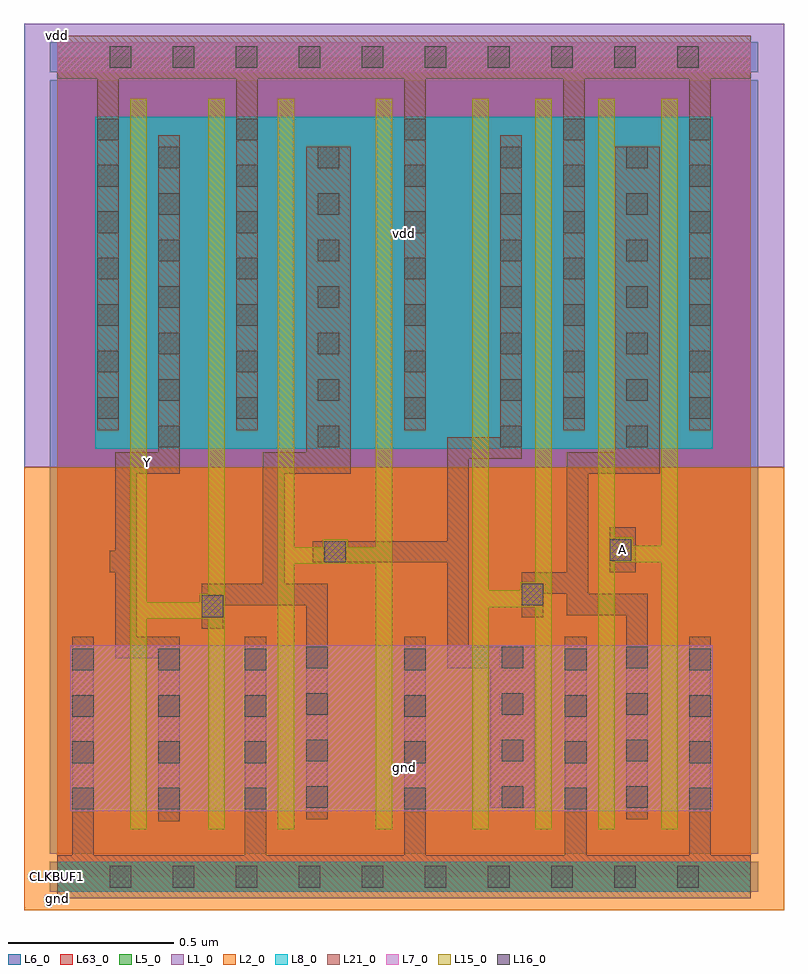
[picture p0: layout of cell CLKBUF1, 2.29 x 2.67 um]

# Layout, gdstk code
import gdstk
lib = gdstk.Library(unit=1e-6, precision=1e-09)
def R(c, l, rs):  # rectangles x0, y0, x1, y1
    for r in rs: c.add(gdstk.rectangle(r[:2], r[2:], *l))
def A(c, l, x, y, w, h, nx, ny, dx, dy):  # array of equal rectangles
    R(c, l, [(x+i*dx, y+j*dy, x+i*dx+w, y+j*dy+h) for i in range(nx) for j in range(ny)])
def P(c, l, *ps):  # polygons
    for p in ps: c.add(gdstk.Polygon(p, *l))
L1_0 = (1, 0)
L2_0 = (2, 0)
L5_0 = (5, 0)
L6_0 = (6, 0)
L7_0 = (7, 0)
L8_0 = (8, 0)
L15_0 = (15, 0)
L16_0 = (16, 0)
L21_0 = (21, 0)
L63_0 = (63, 0)

clkbuf1 = lib.new_cell('CLKBUF1')
R(clkbuf1, L1_0, [(-0.1,1.235,2.19,2.57)])
R(clkbuf1, L2_0, [(-0.1,-0.1,2.19,1.235)])
A(clkbuf1, L5_0, 1.25, 0.198, 0.05, 0.5, 4, 1, 0.19, 0)
A(clkbuf1, L5_0, 1.3, 0.198, 0.14, 0.5, 3, 1, 0.19, 0)
A(clkbuf1, L5_0, 1.25, 1.29, 0.05, 1, 4, 1, 0.19, 0)
A(clkbuf1, L5_0, 1.3, 1.29, 0.14, 1, 3, 1, 0.19, 0)
R(clkbuf1, L5_0, [(0,-0.045,2.09,0.045), (0.04,0.198,0.22,0.698), (0.22,0.198,0.27,0.698), (0.27,0.198,0.455,0.698), (0.455,0.198,0.505,0.698), (0.505,0.198,0.665,0.698), (0.665,0.198,0.715,0.698), (0.715,0.198,0.96,0.698), (0.96,0.198,1.01,0.698), (1.01,0.198,1.25,0.698), (1.87,0.198,1.975,0.698), (0.115,1.29,0.22,2.29), (0.22,1.29,0.27,2.29), (0.27,1.29,0.455,2.29), (0.455,1.29,0.505,2.29), (0.505,1.29,0.665,2.29), (0.665,1.29,0.715,2.29), (0.715,1.29,0.96,2.29), (0.96,1.29,1.01,2.29), (1.01,1.29,1.25,2.29), (1.87,1.29,1.975,2.29), (0,2.425,2.09,2.515)])
R(clkbuf1, L6_0, [(-0.023,-0.045,2.113,0.045), (-0.023,-0.045,2.113,0.045), (-0.023,0.07,2.113,1.235), (-0.023,1.235,2.113,2.4), (-0.023,2.425,2.113,2.515), (-0.023,2.425,2.113,2.515)])
A(clkbuf1, L7_0, 1.25, 0.198, 0.05, 0.5, 4, 1, 0.19, 0)
A(clkbuf1, L7_0, 1.3, 0.198, 0.14, 0.5, 3, 1, 0.19, 0)
R(clkbuf1, L7_0, [(0.04,0.198,0.22,0.698), (0.22,0.198,0.27,0.698), (0.27,0.198,0.455,0.698), (0.455,0.198,0.505,0.698), (0.505,0.198,0.665,0.698), (0.665,0.198,0.715,0.698), (0.715,0.198,0.96,0.698), (0.96,0.198,1.01,0.698), (1.01,0.198,1.25,0.698), (1.87,0.198,1.975,0.698), (0,2.425,2.09,2.515)])
A(clkbuf1, L8_0, 1.25, 1.29, 0.05, 1, 4, 1, 0.19, 0)
A(clkbuf1, L8_0, 1.3, 1.29, 0.14, 1, 3, 1, 0.19, 0)
R(clkbuf1, L8_0, [(0,-0.045,2.09,0.045), (0.115,1.29,0.22,2.29), (0.22,1.29,0.27,2.29), (0.27,1.29,0.455,2.29), (0.455,1.29,0.505,2.29), (0.505,1.29,0.665,2.29), (0.665,1.29,0.715,2.29), (0.715,1.29,0.96,2.29), (0.96,1.29,1.01,2.29), (1.01,1.29,1.25,2.29), (1.87,1.29,1.975,2.29)])
A(clkbuf1, L15_0, 1.25, 0.143, 0.05, 0.055, 4, 2, 0.19, 2.147)
A(clkbuf1, L15_0, 1.25, 0.198, 0.05, 0.5, 4, 1, 0.19, 0)
A(clkbuf1, L15_0, 1.25, 1.29, 0.05, 1, 4, 1, 0.19, 0)
R(clkbuf1, L15_0, [(0.22,0.143,0.27,0.198), (0.455,0.143,0.505,0.198), (0.665,0.143,0.715,0.198), (0.96,0.143,1.01,0.198), (0.22,0.198,0.27,0.698), (0.455,0.198,0.505,0.698), (0.665,0.198,0.715,0.698), (0.96,0.198,1.01,0.698), (0.22,1.29,0.27,2.29), (0.455,1.29,0.505,2.29), (0.665,1.29,0.715,2.29), (0.96,1.29,1.01,2.29), (0.22,2.29,0.27,2.345), (0.455,2.29,0.505,2.345), (0.665,2.29,0.715,2.345), (0.96,2.29,1.01,2.345)])
P(clkbuf1, L15_0, [(0.22,1.29),(0.27,1.29),(0.27,0.828),(0.43,0.828),(0.43,0.853),(0.455,0.853),(0.455,1.29),(0.505,1.29),(0.505,0.698),(0.455,0.698),(0.455,0.778),(0.27,0.778),(0.27,0.698),(0.22,0.698)],
  [(0.665,1.29),(0.715,1.29),(0.715,0.993),(0.8,0.993),(0.8,1.018),(0.875,1.018),(0.875,0.993),(0.96,0.993),(0.96,1.29),(1.01,1.29),(1.01,0.698),(0.96,0.698),(0.96,0.943),(0.715,0.943),(0.715,0.698),(0.665,0.698)],
  [(1.25,1.29),(1.3,1.29),(1.3,0.863),(1.395,0.863),(1.395,0.888),(1.44,0.888),(1.44,1.29),(1.49,1.29),(1.49,0.698),(1.44,0.698),(1.44,0.813),(1.3,0.813),(1.3,0.698),(1.25,0.698)],
  [(1.63,1.29),(1.68,1.29),(1.68,1.023),(1.735,1.023),(1.735,0.998),(1.82,0.998),(1.82,1.29),(1.87,1.29),(1.87,0.698),(1.82,0.698),(1.82,0.948),(1.68,0.948),(1.68,0.698),(1.63,0.698)])
A(clkbuf1, L16_0, 0.158, -0.033, 0.065, 0.066, 10, 1, 0.19, 0)
A(clkbuf1, L16_0, 0.045, 0.203, 0.065, 0.065, 3, 4, 0.26, 0.14)
A(clkbuf1, L16_0, 1.045, 0.203, 0.065, 0.065, 1, 4, 0, 0.14)
A(clkbuf1, L16_0, 1.53, 0.203, 0.065, 0.065, 1, 4, 0, 0.14)
A(clkbuf1, L16_0, 1.905, 0.203, 0.065, 0.065, 1, 4, 0, 0.14)
A(clkbuf1, L16_0, 0.75, 0.208, 0.065, 0.065, 1, 4, 0, 0.14)
A(clkbuf1, L16_0, 1.34, 0.208, 0.065, 0.065, 1, 4, 0, 0.14)
A(clkbuf1, L16_0, 1.715, 0.208, 0.065, 0.065, 1, 4, 0, 0.14)
A(clkbuf1, L16_0, 0.305, 1.295, 0.065, 0.065, 1, 7, 0, 0.14)
A(clkbuf1, L16_0, 0.785, 1.295, 0.065, 0.065, 1, 7, 0, 0.14)
A(clkbuf1, L16_0, 1.335, 1.295, 0.065, 0.065, 1, 7, 0, 0.14)
A(clkbuf1, L16_0, 1.715, 1.295, 0.065, 0.065, 1, 7, 0, 0.14)
A(clkbuf1, L16_0, 0.12, 1.38, 0.065, 0.065, 1, 7, 0, 0.14)
A(clkbuf1, L16_0, 0.54, 1.38, 0.065, 0.065, 1, 7, 0, 0.14)
A(clkbuf1, L16_0, 1.045, 1.38, 0.065, 0.065, 1, 7, 0, 0.14)
A(clkbuf1, L16_0, 1.525, 1.38, 0.065, 0.065, 1, 7, 0, 0.14)
A(clkbuf1, L16_0, 1.905, 1.38, 0.065, 0.065, 1, 7, 0, 0.14)
A(clkbuf1, L16_0, 0.158, 2.438, 0.065, 0.065, 10, 1, 0.19, 0)
R(clkbuf1, L16_0, [(0.435,0.783,0.5,0.848), (1.4,0.818,1.465,0.883), (0.805,0.948,0.87,1.012), (1.665,0.953,1.73,1.018)])
R(clkbuf1, L21_0, [(1.665,0.918,1.743,1.053)])
P(clkbuf1, L21_0, [(0,2.405),(0,2.535),(2.09,2.535),(2.09,2.405),(1.97,2.405),(1.97,1.345),(1.905,1.345),(1.905,2.405),(1.59,2.405),(1.59,1.345),(1.525,1.345),(1.525,2.405),(1.11,2.405),(1.11,1.345),(1.045,1.345),(1.045,2.405),(0.605,2.405),(0.605,1.345),(0.54,1.345),(0.54,2.405),(0.185,2.405),(0.185,1.345),(0.12,1.345),(0.12,2.405)],
  [(0,-0.065),(0,0.065),(0.045,0.065),(0.045,0.723),(0.11,0.723),(0.11,0.065),(0.565,0.065),(0.565,0.723),(0.63,0.723),(0.63,0.065),(1.045,0.065),(1.045,0.723),(1.11,0.723),(1.11,0.065),(1.53,0.065),(1.53,0.723),(1.595,0.723),(1.595,0.065),(1.905,0.065),(1.905,0.723),(1.97,0.723),(1.97,0.065),(2.09,0.065),(2.09,-0.065)],
  [(1.535,0.918),(1.535,1.28),(1.68,1.28),(1.68,2.2),(1.815,2.2),(1.815,1.215),(1.6,1.215),(1.6,0.853),(1.78,0.853),(1.78,0.173),(1.715,0.173),(1.715,0.788),(1.535,0.788),(1.535,0.853),(1.465,0.853),(1.465,0.783),(1.4,0.783),(1.4,0.918)],
  [(1.175,0.628),(1.175,0.948),(0.77,0.948),(0.77,1.012),(1.175,1.012),(1.175,1.325),(1.335,1.325),(1.335,2.235),(1.4,2.235),(1.4,1.26),(1.24,1.26),(1.24,0.693),(1.44,0.693),(1.44,0.208),(1.305,0.208),(1.305,0.628)],
  [(0.62,0.883),(0.62,1.28),(0.75,1.28),(0.75,2.2),(0.885,2.2),(0.885,1.215),(0.685,1.215),(0.685,0.883),(0.815,0.883),(0.815,0.173),(0.75,0.173),(0.75,0.818),(0.5,0.818),(0.5,0.748),(0.435,0.748),(0.435,0.883)],
  [(0.24,0.723),(0.37,0.723),(0.37,0.168),(0.305,0.168),(0.305,0.658),(0.175,0.658),(0.175,0.918),(0.158,0.918),(0.158,0.983),(0.175,0.983),(0.175,1.28),(0.305,1.28),(0.305,2.235),(0.37,2.235),(0.37,1.215),(0.24,1.215)])
R(clkbuf1, L63_0, [(0,0,2.09,2.47)])
clkbuf1.add(gdstk.Label('vdd', (1.045,1.94), layer=21, texttype=1))
clkbuf1.add(gdstk.Label('gnd', (1.045,0.329), layer=21, texttype=1))
clkbuf1.add(gdstk.Label('Y', (0.273,1.248), layer=21, texttype=1))
clkbuf1.add(gdstk.Label('A', (1.704,0.985), layer=21, texttype=1))
clkbuf1.add(gdstk.Label('vdd', (0,2.535), layer=21, texttype=2))
clkbuf1.add(gdstk.Label('gnd', (0,-0.065), layer=21, texttype=2))
clkbuf1.add(gdstk.Label('CLKBUF1', (0,0), layer=63, texttype=1))

lib.write_gds('CLKBUF1.gds')
